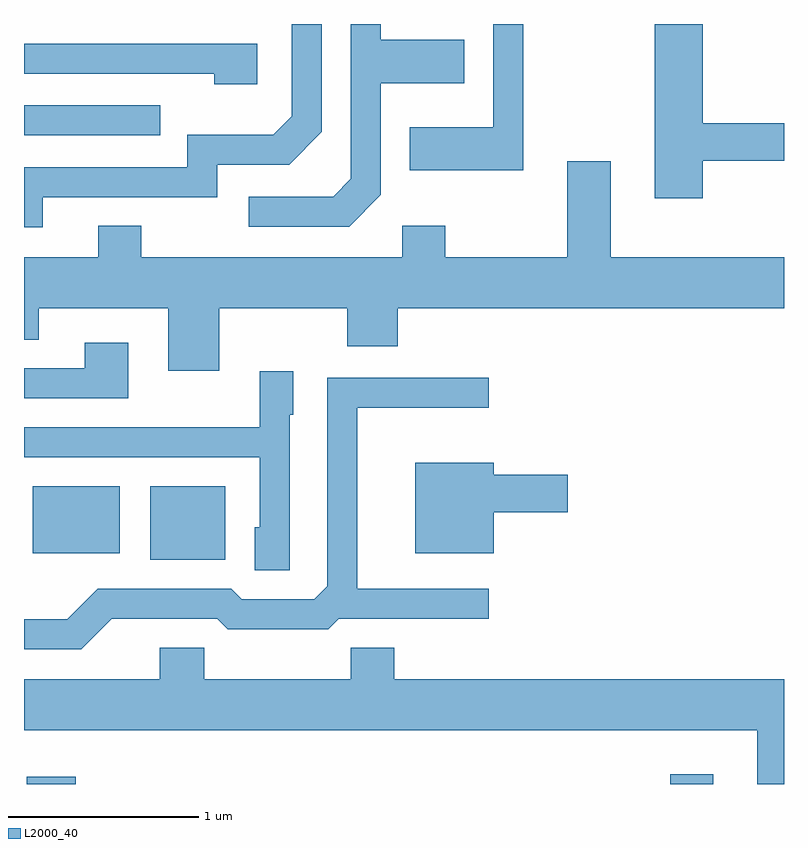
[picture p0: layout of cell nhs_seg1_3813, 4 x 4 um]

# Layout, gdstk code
import gdstk
lib = gdstk.Library(unit=1e-6, precision=1e-09)
def R(c, l, rs):  # rectangles x0, y0, x1, y1
    for r in rs: c.add(gdstk.rectangle(r[:2], r[2:], *l))
def P(c, l, *ps):  # polygons
    for p in ps: c.add(gdstk.Polygon(p, *l))
L2000_40 = (2000, 40)

nhs_seg1_3813 = lib.new_cell('nhs_seg1_3813')
R(nhs_seg1_3813, L2000_40, [(299.626,923.712,299.884,923.749), (303.011,923.712,303.239,923.764), (300.276,924.891,300.669,925.279), (299.656,924.926,300.114,925.279), (299.611,927.126,300.328,927.284)])
P(nhs_seg1_3813, L2000_40, [(303.184,926.991),(303.611,926.991),(303.611,927.189),(303.184,927.189),(303.184,927.712),(302.931,927.712),(302.931,926.796),(303.184,926.796)],
  [(301.489,926.814),(301.489,927.401),(301.929,927.401),(301.929,927.629),(301.489,927.629),(301.489,927.712),(301.331,927.712),(301.331,926.897),(301.239,926.804),(300.793,926.804),(300.793,926.646),(301.322,926.646)],
  [(299.709,926.801),(300.629,926.801),(300.629,926.971),(301.007,926.971),(301.179,927.144),(301.179,927.712),(301.021,927.712),(301.021,927.227),(300.924,927.129),(300.471,927.129),(300.471,926.959),(299.611,926.959),(299.611,926.641),(299.709,926.641)],
  [(302.239,927.712),(302.081,927.712),(302.081,927.169),(301.641,927.169),(301.641,926.941),(302.239,926.941)],
  [(300.839,927.609),(299.611,927.609),(299.611,927.451),(300.611,927.451),(300.611,927.396),(300.839,927.396)],
  [(300.639,926.216),(301.311,926.216),(301.311,926.016),(301.579,926.016),(301.579,926.216),(303.611,926.216),(303.611,926.484),(302.699,926.484),(302.699,926.989),(302.471,926.989),(302.471,926.484),(301.829,926.484),(301.829,926.649),(301.601,926.649),(301.601,926.484),(300.229,926.484),(300.229,926.649),(300.001,926.649),(300.001,926.484),(299.611,926.484),(299.611,926.051),(299.689,926.051),(299.689,926.216),(300.371,926.216),(300.371,925.886),(300.639,925.886)],
  [(300.159,926.034),(299.931,926.034),(299.931,925.899),(299.611,925.899),(299.611,925.741),(300.159,925.741)],
  [(301.009,925.656),(301.029,925.656),(301.029,925.884),(300.851,925.884),(300.851,925.589),(299.611,925.589),(299.611,925.431),(300.851,925.431),(300.851,925.064),(300.826,925.064),(300.826,924.836),(301.009,924.836)],
  [(300.072,924.581),(300.629,924.581),(300.684,924.526),(301.212,924.526),(301.267,924.581),(302.058,924.581),(302.058,924.739),(301.364,924.739),(301.364,925.691),(302.058,925.691),(302.058,925.849),(301.206,925.849),(301.206,924.752),(301.139,924.684),(300.757,924.684),(300.702,924.739),(299.999,924.739),(299.839,924.579),(299.611,924.579),(299.611,924.421),(299.912,924.421)],
  [(302.084,925.141),(302.474,925.141),(302.474,925.339),(302.084,925.339),(302.084,925.404),(301.671,925.404),(301.671,924.926),(302.084,924.926)],
  [(303.611,924.264),(301.559,924.264),(301.559,924.429),(301.331,924.429),(301.331,924.264),(300.559,924.264),(300.559,924.429),(300.326,924.429),(300.326,924.264),(299.611,924.264),(299.611,923.996),(303.471,923.996),(303.471,923.712),(303.611,923.712)])

lib.write_gds('nhs_seg1_3813.gds')
